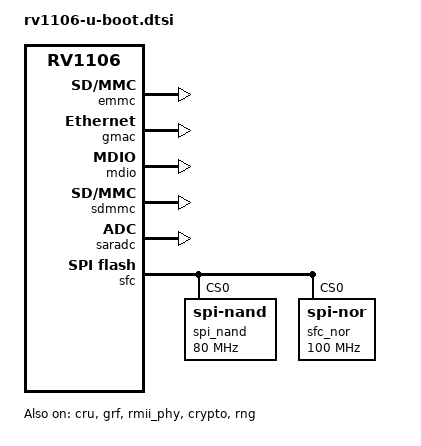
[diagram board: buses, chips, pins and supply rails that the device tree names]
/*
 * (C) Copyright 2022 Rockchip Electronics Co., Ltd
 *
 * SPDX-License-Identifier:     GPL-2.0+
 */

/ {
	aliases {
		mmc1 = &sdmmc;
		mmc0 = &emmc;
	};

	chosen {
		stdout-path = &uart2;
		u-boot,spl-boot-order = &sdmmc, &spi_nor, &spi_nand, &emmc;
	};
};


&emmc {
	mmc-ecsd = <0x0020f000>;
	u-boot,dm-spl;
	status = "okay";
};

&cru {
	u-boot,dm-spl;
	status = "okay";
};

&gmac {
	u-boot,dm-spl;
	status = "okay";
};

&grf {
	u-boot,dm-spl;
	status = "okay";
};

&mdio {
	u-boot,dm-spl;
	status = "okay";
};

&rmii_phy {
	u-boot,dm-spl;
	status = "okay";
};

&sdmmc {
	u-boot,dm-spl;
	status = "okay";
};

&crypto {
	u-boot,dm-spl;
	clocks = <&cru CLK_CORE_CRYPTO>, <&cru CLK_PKA_CRYPTO>;
	clock-frequency = <300000000>, <300000000>;
	status = "okay";
};

&rng {
	u-boot,dm-spl;
	status = "okay";
};

&saradc {
	u-boot,dm-pre-reloc;
	status = "okay";
};

&sfc {
	u-boot,dm-spl;
	status = "okay";

	#address-cells = <1>;
	#size-cells = <0>;
	spi_nand: flash@0 {
		u-boot,dm-spl;
		compatible = "spi-nand";
		reg = <0>;
		spi-tx-bus-width = <1>;
		spi-rx-bus-width = <4>;
		spi-max-frequency = <80000000>;
	};

	spi_nor: flash@1 {
		u-boot,dm-spl;
		compatible = "jedec,spi-nor";
		label = "sfc_nor";
		reg = <0>;
		spi-tx-bus-width = <1>;
		spi-rx-bus-width = <4>;
		spi-max-frequency = <100000000>;
	};
};
